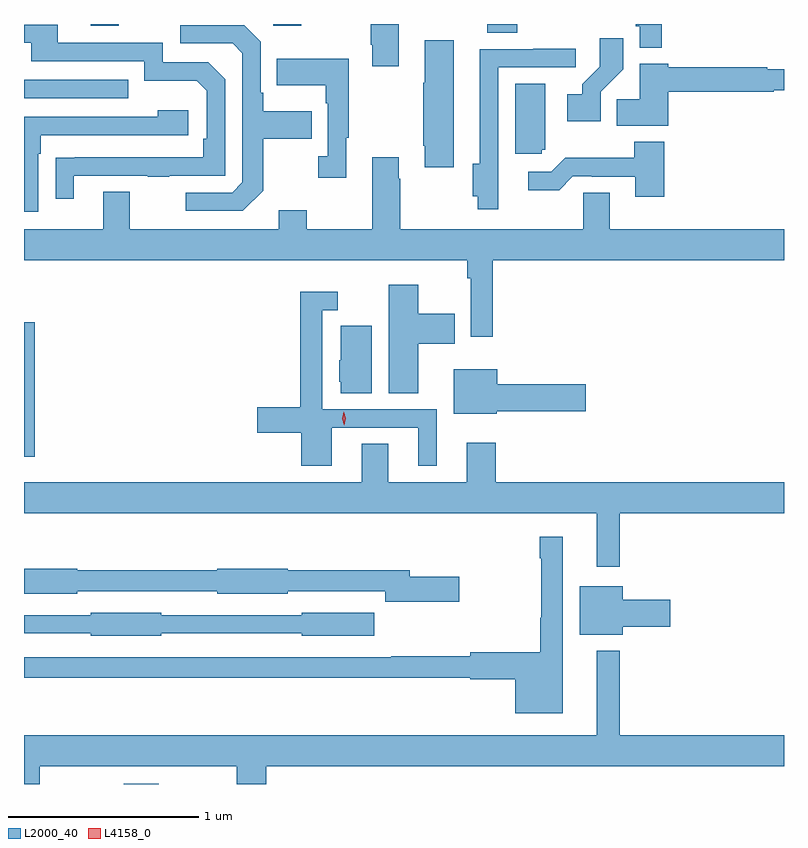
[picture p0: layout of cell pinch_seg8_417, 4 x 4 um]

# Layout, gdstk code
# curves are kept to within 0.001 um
import gdstk
lib = gdstk.Library(unit=1e-6, precision=1e-09)
def R(c, l, rs):  # rectangles x0, y0, x1, y1
    for r in rs: c.add(gdstk.rectangle(r[:2], r[2:], *l))
def P(c, l, *ps):  # polygons
    for p in ps: c.add(gdstk.Polygon(p, *l))
L2000_40 = (2000, 40)
L4158_0 = (4158, 0)

pinch_seg8_417 = lib.new_cell('pinch_seg8_417')
R(pinch_seg8_417, L2000_40, [(281.405,1129.727,281.59,1129.729), (280.881,1131.449,280.937,1132.156), (280.881,1133.337,281.429,1133.433), (283.318,1133.68,283.478,1133.727), (281.231,1133.717,281.379,1133.727), (282.192,1133.717,282.339,1133.727)])
P(pinch_seg8_417, L2000_40, [(284.237,1133.727),(284.101,1133.727),(284.101,1133.715),(284.121,1133.715),(284.121,1133.603),(284.237,1133.603)],
  [(282.853,1133.727),(282.706,1133.727),(282.706,1133.617),(282.713,1133.617),(282.713,1133.505),(282.853,1133.505)],
  [(281.143,1132.929),(281.533,1132.929),(281.533,1132.924),(281.645,1132.924),(281.645,1132.929),(281.94,1132.929),(281.94,1133.436),(281.85,1133.526),(281.61,1133.526),(281.61,1133.628),(281.059,1133.628),(281.059,1133.724),(280.881,1133.724),(280.881,1133.628),(280.919,1133.628),(280.919,1133.532),(281.514,1133.532),(281.514,1133.429),(281.791,1133.429),(281.844,1133.376),(281.844,1133.122),(281.824,1133.122),(281.824,1133.025),(281.047,1133.024),(281.047,1132.806),(281.143,1132.806)],
  [(282.139,1132.849),(282.139,1133.122),(282.395,1133.122),(282.395,1133.269),(282.139,1133.269),(282.139,1133.365),(282.126,1133.365),(282.126,1133.634),(282.039,1133.721),(281.703,1133.721),(281.703,1133.625),(281.979,1133.625),(282.03,1133.574),(282.03,1132.893),(281.976,1132.839),(281.733,1132.839),(281.733,1132.743),(282.033,1132.743)],
  [(283.917,1133.371),(284.036,1133.49),(284.036,1133.653),(283.911,1133.653),(283.911,1133.501),(283.82,1133.411),(283.82,1133.356),(283.74,1133.356),(283.74,1133.216),(283.917,1133.216)],
  [(283.144,1133.641),(282.989,1133.641),(282.989,1133.417),(282.982,1133.417),(282.982,1133.086),(282.989,1133.086),(282.989,1132.974),(283.144,1132.974)],
  [(283.378,1132.974),(283.377,1132.974),(283.377,1133.499),(283.786,1133.499),(283.786,1133.598),(283.561,1133.598),(283.561,1133.595),(283.28,1133.595),(283.28,1132.991),(283.244,1132.991),(283.244,1132.82),(283.269,1132.82),(283.269,1132.752),(283.378,1132.752)],
  [(282.577,1133.129),(282.589,1133.129),(282.589,1133.545),(282.211,1133.545),(282.211,1133.405),(282.468,1133.405),(282.468,1133.309),(282.48,1133.309),(282.48,1133.03),(282.429,1133.03),(282.429,1132.917),(282.577,1132.917)],
  [(284.273,1133.371),(284.828,1133.371),(284.828,1133.379),(284.881,1133.379),(284.881,1133.488),(284.792,1133.488),(284.792,1133.5),(284.273,1133.5),(284.273,1133.518),(284.123,1133.518),(284.123,1133.33),(284.002,1133.33),(284.002,1133.192),(284.273,1133.192)],
  [(283.605,1133.064),(283.624,1133.064),(283.624,1133.413),(283.466,1133.413),(283.466,1133.043),(283.605,1133.043)],
  [(280.956,1133.045),(280.969,1133.045),(280.969,1133.142),(281.746,1133.142),(281.746,1133.272),(281.585,1133.272),(281.585,1133.238),(280.881,1133.238),(280.881,1132.74),(280.956,1132.74)],
  [(284.252,1133.107),(284.092,1133.107),(284.092,1133.023),(283.729,1133.023),(283.656,1132.95),(283.536,1132.95),(283.536,1132.853),(283.697,1132.853),(283.77,1132.926),(283.87,1132.926),(283.87,1132.923),(284.099,1132.923),(284.099,1132.818),(284.252,1132.818)],
  [(283.349,1132.484),(284.881,1132.484),(284.881,1132.648),(283.963,1132.648),(283.963,1132.838),(283.824,1132.838),(283.824,1132.648),(282.861,1132.648),(282.861,1132.913),(282.853,1132.913),(282.853,1133.026),(282.713,1133.026),(282.713,1132.648),(282.369,1132.648),(282.369,1132.747),(282.221,1132.747),(282.221,1132.648),(281.437,1132.648),(281.437,1132.843),(281.297,1132.843),(281.297,1132.648),(280.881,1132.648),(280.881,1132.484),(283.213,1132.484),(283.213,1132.388),(283.233,1132.388),(283.233,1132.08),(283.349,1132.08)],
  [(282.955,1132.043),(283.148,1132.043),(283.148,1132.201),(282.955,1132.201),(282.955,1132.354),(282.8,1132.354),(282.8,1131.784),(282.955,1131.784)],
  [(282.502,1131.603),(282.956,1131.603),(282.956,1131.402),(283.054,1131.402),(283.054,1131.699),(282.45,1131.699),(282.45,1132.221),(282.532,1132.221),(282.532,1132.318),(282.334,1132.318),(282.334,1131.71),(282.108,1131.71),(282.108,1131.575),(282.341,1131.575),(282.341,1131.402),(282.502,1131.402)],
  [(282.712,1132.138),(282.548,1132.138),(282.548,1131.957),(282.539,1131.957),(282.539,1131.843),(282.548,1131.843),(282.548,1131.784),(282.712,1131.784)],
  [(283.368,1131.688),(283.837,1131.688),(283.837,1131.83),(283.372,1131.83),(283.372,1131.91),(283.142,1131.91),(283.142,1131.677),(283.368,1131.677)],
  [(284.017,1131.152),(284.881,1131.152),(284.881,1131.316),(283.364,1131.316),(283.364,1131.523),(283.211,1131.523),(283.211,1131.316),(282.799,1131.316),(282.799,1131.518),(282.659,1131.518),(282.659,1131.316),(280.881,1131.316),(280.881,1131.152),(283.895,1131.152),(283.895,1130.871),(284.017,1130.871)],
  [(283.717,1131.028),(283.596,1131.028),(283.596,1130.915),(283.603,1130.915),(283.603,1130.603),(283.598,1130.603),(283.598,1130.42),(283.23,1130.42),(283.23,1130.399),(282.814,1130.399),(282.814,1130.394),(280.881,1130.394),(280.881,1130.286),(283.23,1130.286),(283.23,1130.278),(283.466,1130.278),(283.466,1130.099),(283.717,1130.099)],
  [(283.171,1130.817),(282.91,1130.817),(282.91,1130.851),(282.27,1130.851),(282.27,1130.859),(281.898,1130.859),(281.898,1130.851),(281.16,1130.851),(281.16,1130.859),(280.881,1130.859),(280.881,1130.729),(281.16,1130.729),(281.16,1130.742),(281.898,1130.742),(281.898,1130.729),(282.27,1130.729),(282.27,1130.742),(282.782,1130.742),(282.782,1130.687),(283.171,1130.687)],
  [(284.032,1130.555),(284.281,1130.555),(284.281,1130.697),(284.032,1130.697),(284.032,1130.767),(283.805,1130.767),(283.805,1130.513),(284.032,1130.513)],
  [(281.604,1130.52),(282.342,1130.52),(282.342,1130.507),(282.725,1130.507),(282.725,1130.629),(282.342,1130.629),(282.342,1130.616),(281.604,1130.616),(281.604,1130.629),(281.232,1130.629),(281.232,1130.616),(280.881,1130.616),(280.881,1130.52),(281.232,1130.52),(281.232,1130.507),(281.604,1130.507)],
  [(280.965,1129.82),(282.002,1129.82),(282.002,1129.727),(282.155,1129.727),(282.155,1129.82),(284.881,1129.82),(284.881,1129.984),(284.017,1129.984),(284.017,1130.428),(283.895,1130.428),(283.895,1129.984),(280.881,1129.984),(280.881,1129.727),(280.965,1129.727)])
P(pinch_seg8_417, L4158_0, [(282.566,1131.615),(282.566,1131.615),(282.555,1131.65),(282.563,1131.687),(282.564,1131.687),(282.564,1131.687),(282.575,1131.651),(282.567,1131.615)])

lib.write_gds('pinch_seg8_417.gds')
